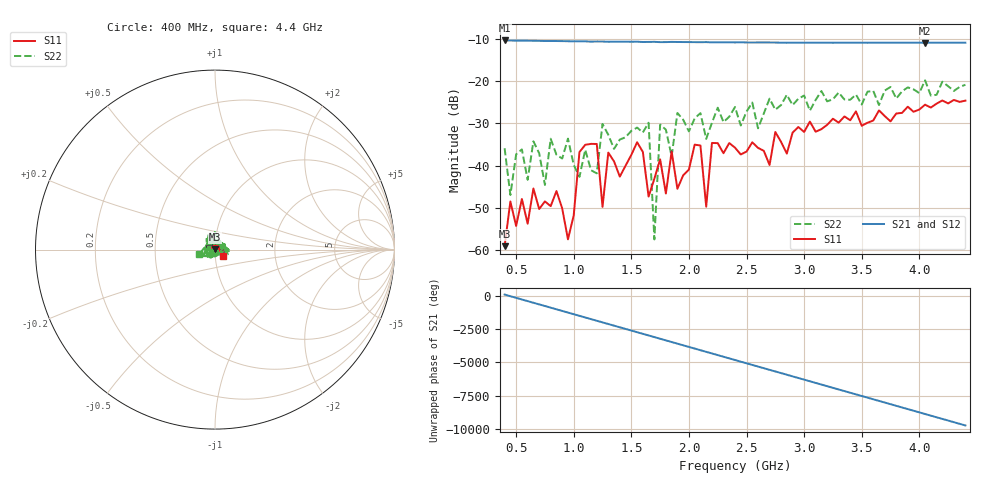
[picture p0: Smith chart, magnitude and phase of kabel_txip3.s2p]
#  HZ  S  RI  R  50.0
! Rohde & Schwarz ZVL
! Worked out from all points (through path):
!   81 points, 400 MHz to 4.4 GHz, reference 50 ohm
!   highest |S21| = -10.36 dB at 400 MHz (marker M1); lowest = -10.9 dB at 4.05 GHz (marker M2)
!   lowest |S11| = -59.0 dB at 400 MHz (marker M3), VSWR 1.00, Z = 49.9 + j0.0678 ohm
!   |S11| at or under -10 dB: start of sweep to end of sweep
!   |S22| runs from -57.4 to -19.8 dB; largest |S21 - S12| = 0.015
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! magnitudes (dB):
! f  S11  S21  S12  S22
! 400 MHz  -59.0  -10.4  -10.3  -35.9
! 450 MHz  -48.4  -10.4  -10.3  -46.9
! 650 MHz  -45.4  -10.4  -10.4  -34.2
! 750 MHz  -48.4  -10.5  -10.5  -44.5
! 950 MHz  -57.4  -10.5  -10.5  -33.6
! 1.1 GHz  -35.0  -10.6  -10.6  -36.2
! 1.2 GHz  -34.8  -10.6  -10.6  -41.8
! 1.25 GHz  -49.7  -10.6  -10.6  -30.1
! 1.3 GHz  -36.9  -10.7  -10.6  -32.7
! 1.55 GHz  -34.4  -10.7  -10.7  -31.0
! 1.65 GHz  -47.3  -10.7  -10.7  -29.8
! 1.7 GHz  -43.1  -10.7  -10.7  -57.4
! 1.75 GHz  -38.5  -10.8  -10.7  -30.3
! 1.8 GHz  -46.6  -10.8  -10.8  -31.5
! 2.1 GHz  -35.2  -10.8  -10.7  -27.5
! 2.15 GHz  -49.7  -10.8  -10.8  -33.7
! 2.2 GHz  -34.6  -10.8  -10.8  -29.8
! 2.4 GHz  -35.7  -10.8  -10.8  -26.1
! 3.1 GHz  -31.9  -10.9  -10.8  -24.4
! 3.75 GHz  -29.5  -10.9  -10.9  -21.4
! 4.05 GHz  -25.6  -10.9  -10.9  -19.8
! 4.4 GHz  -24.6  -10.9  -10.9  -20.8
